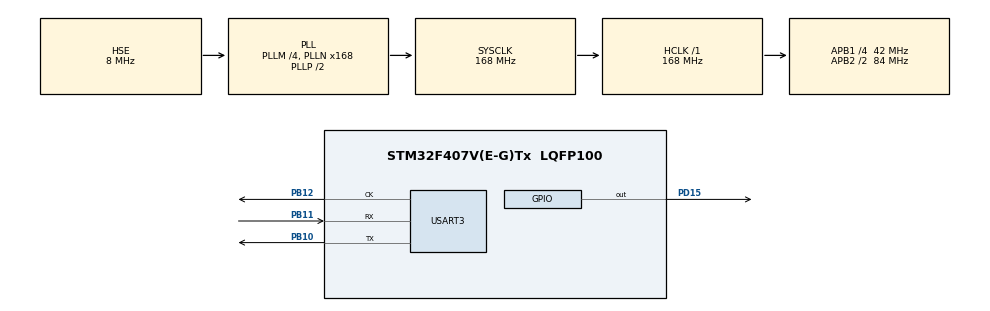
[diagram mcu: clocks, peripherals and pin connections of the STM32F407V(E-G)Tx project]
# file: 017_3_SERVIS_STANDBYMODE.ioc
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Mcu.Family=STM32F4
RCC.PLLSourceVirtual=RCC_PLLSOURCE_HSE
PH0-OSC_IN.Signal=RCC_OSC_IN
RCC.CortexFreq_Value=168000000
PB10.Mode=Synchronous
RCC.APB1CLKDivider=RCC_HCLK_DIV4
PB11.Signal=USART3_RX
RCC.SYSCLKSource=RCC_SYSCLKSOURCE_PLLCLK
ProjectManager.StackSize=0x400
PA0-WKUP.Signal=SYS_WKUP
PA0-WKUP.Mode=SYS_WakeUp0
PA13.Signal=SYS_JTMS-SWDIO
PB11.Mode=Synchronous
ProjectManager.TargetToolchain=STM32CubeIDE
RCC.HCLKFreq_Value=168000000
RCC.APB2TimFreq_Value=168000000
RCC.LSE_VALUE=32768
RCC.AHBFreq_Value=168000000
PH0-OSC_IN.Mode=HSE-External-Oscillator
PB10.Signal=USART3_TX
RCC.HSE_VALUE=8000000
board=custom
RCC.VCOOutputFreq_Value=336000000
RCC.APB2Freq_Value=84000000
PA14.Mode=Serial_Wire
PH1-OSC_OUT.Signal=RCC_OSC_OUT
PA13.Mode=Serial_Wire
Mcu.Name=STM32F407V(E-G)Tx
PH1-OSC_OUT.Mode=HSE-External-Oscillator
RCC.48MHZClocksFreq_Value=84000000
RCC.SYSCLKFreq_VALUE=168000000
Mcu.Package=LQFP100
PB12.Mode=Synchronous
USART3.VirtualMode=VM_SYNC
PA14.Signal=SYS_JTCK-SWCLK
ProjectManager.HeapSize=0x200
RCC.HSI_VALUE=16000000
NVIC.PriorityGroup=NVIC_PRIORITYGROUP_4
RCC.APB2CLKDivider=RCC_HCLK_DIV2
RCC.PLLM=4
RCC.PLLN=168
RCC.APB1TimFreq_Value=84000000
RCC.APB1Freq_Value=42000000
PD15.Signal=GPIO_Output
PB12.Signal=USART3_CK

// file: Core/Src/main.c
/* USER CODE BEGIN Header */
/**
  ******************************************************************************
  * @file           : main.c
  * @brief          : Main program body
  ******************************************************************************
  * @attention
  *
  * <h2><center>&copy; Copyright (c) 2021 STMicroelectronics.
  * All rights reserved.</center></h2>
  *
  * This software component is licensed by ST under BSD 3-Clause license,
  * the "License"; You may not use this file except in compliance with the
  * License. You may obtain a copy of the License at:
  *                        opensource.org/licenses/BSD-3-Clause
  *
  ******************************************************************************
  */
/* USER CODE END Header */
#include "main.h"

/* USER CODE BEGIN Includes */
#include "string.h"
/* USER CODE END Includes */

USART_HandleTypeDef husart3;

void SystemClock_Config(void);
static void MX_GPIO_Init(void);
static void MX_USART3_Init(void);

int main(void)
{

  /* MCU Configuration--------------------------------------------------------*/

  /* Reset of all peripherals, Initializes the Flash interface and the Systick. */
  HAL_Init();

  /* Configure the system clock */
  SystemClock_Config();

  /* Initialize all configured peripherals */
  MX_GPIO_Init();
  MX_USART3_Init();
  /* USER CODE BEGIN 2 */

  if(__HAL_PWR_GET_FLAG(PWR_FLAG_SB) != RESET)
  {
	  __HAL_PWR_CLEAR_FLAG(PWR_FLAG_SB);

	  char *str = "bekleme modu basliyor\n";
	  HAL_USART_Transmit(&husart3, (uint8_t*)str, strlen (str), HAL_MAX_DELAY);

	  for (int i=0; i<20; i++)
	  {
		  HAL_GPIO_TogglePin(GPIOD, GPIO_PIN_15);
		  HAL_Delay(200);
	  }
	  HAL_PWR_DisableWakeUpPin(PWR_WAKEUP_PIN1);
  }

  __HAL_PWR_CLEAR_FLAG(PWR_FLAG_WU);

  char *str2 = "bekleme moduna girmek üzere\n";
  HAL_USART_Transmit(&husart3, (uint8_t*)str2, strlen (str2), HAL_MAX_DELAY);

  for (int i=0; i<5; i++)
  {
	  HAL_GPIO_TogglePin(GPIOD, GPIO_PIN_15);
	  HAL_Delay(1000);
  }

  HAL_PWR_EnableWakeUpPin(PWR_WAKEUP_PIN1);

  char *str3 = "bekleme modu basladi\n";
  HAL_USART_Transmit(&husart3, (uint8_t*)str3, strlen (str3), HAL_MAX_DELAY);

  HAL_PWR_EnterSTANDBYMode();

  /* USER CODE END 2 */

  /* Infinite loop */
  while (1)
  {

  }
}

void SystemClock_Config(void)
{
  RCC_OscInitTypeDef RCC_OscInitStruct = {0};
  RCC_ClkInitTypeDef RCC_ClkInitStruct = {0};

  /** Configure the main internal regulator output voltage
  */
  __HAL_RCC_PWR_CLK_ENABLE();
  __HAL_PWR_VOLTAGESCALING_CONFIG(PWR_REGULATOR_VOLTAGE_SCALE1);
  /** Initializes the RCC Oscillators according to the specified parameters
  * in the RCC_OscInitTypeDef structure.
  */
  RCC_OscInitStruct.OscillatorType = RCC_OSCILLATORTYPE_HSE;
  RCC_OscInitStruct.HSEState = RCC_HSE_ON;
  RCC_OscInitStruct.PLL.PLLState = RCC_PLL_ON;
  RCC_OscInitStruct.PLL.PLLSource = RCC_PLLSOURCE_HSE;
  RCC_OscInitStruct.PLL.PLLM = 4;
  RCC_OscInitStruct.PLL.PLLN = 168;
  RCC_OscInitStruct.PLL.PLLP = RCC_PLLP_DIV2;
  RCC_OscInitStruct.PLL.PLLQ = 4;
  if (HAL_RCC_OscConfig(&RCC_OscInitStruct) != HAL_OK)
  {
    Error_Handler();
  }
  /** Initializes the CPU, AHB and APB buses clocks
  */
  RCC_ClkInitStruct.ClockType = RCC_CLOCKTYPE_HCLK|RCC_CLOCKTYPE_SYSCLK
                              |RCC_CLOCKTYPE_PCLK1|RCC_CLOCKTYPE_PCLK2;
  RCC_ClkInitStruct.SYSCLKSource = RCC_SYSCLKSOURCE_PLLCLK;
  RCC_ClkInitStruct.AHBCLKDivider = RCC_SYSCLK_DIV1;
  RCC_ClkInitStruct.APB1CLKDivider = RCC_HCLK_DIV4;
  RCC_ClkInitStruct.APB2CLKDivider = RCC_HCLK_DIV2;

  if (HAL_RCC_ClockConfig(&RCC_ClkInitStruct, FLASH_LATENCY_5) != HAL_OK)
  {
    Error_Handler();
  }
}

static void MX_USART3_Init(void)
{

  husart3.Instance = USART3;
  husart3.Init.BaudRate = 115200;
  husart3.Init.WordLength = USART_WORDLENGTH_8B;
  husart3.Init.StopBits = USART_STOPBITS_1;
  husart3.Init.Parity = USART_PARITY_NONE;
  husart3.Init.Mode = USART_MODE_TX_RX;
  husart3.Init.CLKPolarity = USART_POLARITY_LOW;
  husart3.Init.CLKPhase = USART_PHASE_1EDGE;
  husart3.Init.CLKLastBit = USART_LASTBIT_DISABLE;
  if (HAL_USART_Init(&husart3) != HAL_OK)
  {
    Error_Handler();
  }

}

static void MX_GPIO_Init(void)
{
  GPIO_InitTypeDef GPIO_InitStruct = {0};

  /* GPIO Ports Clock Enable */
  __HAL_RCC_GPIOH_CLK_ENABLE();
  __HAL_RCC_GPIOA_CLK_ENABLE();
  __HAL_RCC_GPIOB_CLK_ENABLE();
  __HAL_RCC_GPIOD_CLK_ENABLE();

  /*Configure GPIO pin Output Level */
  HAL_GPIO_WritePin(GPIOD, GPIO_PIN_15, GPIO_PIN_RESET);

  /*Configure GPIO pin : PD15 */
  GPIO_InitStruct.Pin = GPIO_PIN_15;
  GPIO_InitStruct.Mode = GPIO_MODE_OUTPUT_PP;
  GPIO_InitStruct.Pull = GPIO_NOPULL;
  GPIO_InitStruct.Speed = GPIO_SPEED_FREQ_LOW;
  HAL_GPIO_Init(GPIOD, &GPIO_InitStruct);

}

void Error_Handler(void)
{
  __disable_irq();
  while (1)
  {
  }
}

/************************ (C) COPYRIGHT STMicroelectronics *****END OF FILE****/
